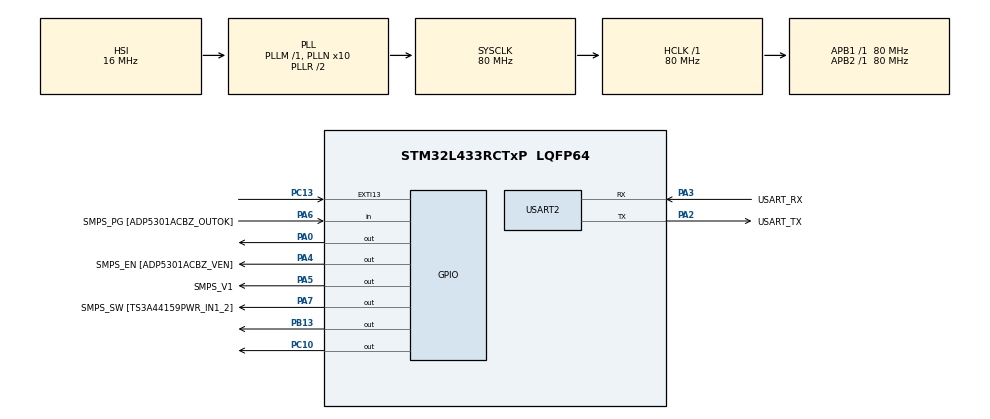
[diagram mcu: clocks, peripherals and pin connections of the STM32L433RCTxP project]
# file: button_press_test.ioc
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Mcu.Family=STM32L4
Mcu.Name=STM32L433RCTxP
Mcu.Package=LQFP64
NVIC.EXTI15_10_IRQn=true\:0\:0\:false\:false\:true\:true\:true\:true
NVIC.PriorityGroup=NVIC_PRIORITYGROUP_4
PA0.Signal=GPIO_Output
PA13\ (JTMS-SWDIO).GPIO_Label=TMS
PA13\ (JTMS-SWDIO).Mode=Serial_Wire
PA13\ (JTMS-SWDIO).Signal=SYS_JTMS-SWDIO
PA14\ (JTCK-SWCLK).GPIO_Label=TCK
PA14\ (JTCK-SWCLK).Mode=Serial_Wire
PA14\ (JTCK-SWCLK).Signal=SYS_JTCK-SWCLK
PA2.GPIO_Label=USART_TX
PA2.GPIO_Mode=GPIO_MODE_AF_PP
PA2.GPIO_PuPd=GPIO_NOPULL
PA2.GPIO_Speed=GPIO_SPEED_FREQ_VERY_HIGH
PA2.Mode=Asynchronous
PA2.Signal=USART2_TX
PA3.GPIO_Label=USART_RX
PA3.GPIO_Mode=GPIO_MODE_AF_PP
PA3.GPIO_PuPd=GPIO_NOPULL
PA3.GPIO_Speed=GPIO_SPEED_FREQ_VERY_HIGH
PA3.Mode=Asynchronous
PA3.Signal=USART2_RX
PA4.GPIO_Label=SMPS_EN [ADP5301ACBZ_VEN]
PA4.Signal=GPIO_Output
PA5.GPIO_Label=SMPS_V1
PA5.GPIO_ModeDefaultOutputPP=GPIO_MODE_OUTPUT_PP
PA5.GPIO_PuPd=GPIO_NOPULL
PA5.GPIO_Speed=GPIO_SPEED_FREQ_LOW
PA5.Signal=GPIO_Output
PA6.GPIO_Label=SMPS_PG [ADP5301ACBZ_OUTOK]
PA6.GPIO_PuPd=GPIO_PULLUP
PA6.Signal=GPIO_Input
PA7.GPIO_Label=SMPS_SW [TS3A44159PWR_IN1_2]
PA7.Signal=GPIO_Output
PB13.Signal=GPIO_Output
PB3\ (JTDO-TRACESWO).GPIO_Label=SWO
PB3\ (JTDO-TRACESWO).Signal=SYS_JTDO-SWO
PC10.Signal=GPIO_Output
PC13.Signal=GPXTI13
PC14-OSC32_IN\ (PC14).Mode=LSE-External-Oscillator
PC14-OSC32_IN\ (PC14).Signal=RCC_OSC32_IN
PC15-OSC32_OUT\ (PC15).Mode=LSE-External-Oscillator
PC15-OSC32_OUT\ (PC15).Signal=RCC_OSC32_OUT
PH0-OSC_IN\ (PH0).GPIO_Label=MCO
PH0-OSC_IN\ (PH0).Mode=HSE-External-Clock-Source
PH0-OSC_IN\ (PH0).Signal=RCC_OSC_IN
PH1-OSC_OUT\ (PH1).Signal=RCC_OSC_OUT
ProjectManager.HeapSize=0x200
ProjectManager.StackSize=0x400
ProjectManager.TargetToolchain=STM32CubeIDE
RCC.ADCFreq_Value=64000000
RCC.AHBFreq_Value=80000000
RCC.APB1Freq_Value=80000000
RCC.APB1TimFreq_Value=80000000
RCC.APB2Freq_Value=80000000
RCC.APB2TimFreq_Value=80000000
RCC.CortexFreq_Value=80000000
RCC.HCLKFreq_Value=80000000
RCC.HSE_VALUE=8000000
RCC.HSI48_VALUE=48000000
RCC.HSI_VALUE=16000000
RCC.MSI_VALUE=4000000
RCC.PLLN=10
RCC.PLLSourceVirtual=RCC_PLLSOURCE_HSI
RCC.PREFETCH_ENABLE=1
RCC.SYSCLKFreq_VALUE=80000000
RCC.SYSCLKSource=RCC_SYSCLKSOURCE_PLLCLK
RCC.USBFreq_Value=64000000
RCC.VCOOutputFreq_Value=160000000
USART2.VirtualMode-Asynchronous=VM_ASYNC
board=NUCLEO-L433RC-P

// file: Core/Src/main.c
/* USER CODE BEGIN Header */
/**
  ******************************************************************************
  * @file           : main.c
  * @brief          : Main program body
  ******************************************************************************
  * @attention
  *
  * Copyright (c) 2025 STMicroelectronics.
  * All rights reserved.
  *
  * This software is licensed under terms that can be found in the LICENSE file
  * in the root directory of this software component.
  * If no LICENSE file comes with this software, it is provided AS-IS.
  *
  ******************************************************************************
  */
/* USER CODE END Header */
#include "main.h"

UART_HandleTypeDef huart2;

/* USER CODE BEGIN PV */
volatile uint8_t single_tab = 0;
volatile uint8_t double_tab = 0;
volatile uint8_t action_triggered = 0;
volatile uint8_t interrupt_detected = 0;
volatile uint32_t last_press_time = 0;
int count = 0;

//volatile uint32_t last_press_time = 0;
volatile uint32_t first_press_time = 0;
volatile uint8_t press_count = 0;

//volatile uint8_t single_tab = 0;
//volatile uint8_t double_tab = 0;
//volatile uint8_t action_triggered = 0;
//volatile uint8_t interrupt_detected = 0;

//char msg[] = "Hello, world!\r\n";
/* USER CODE END PV */

void SystemClock_Config(void);
static void MX_GPIO_Init(void);
static void MX_USART2_UART_Init(void);

/* USER CODE BEGIN 0 */
void HAL_GPIO_EXTI_Callback(uint16_t GPIO_Pin)
{
	if (GPIO_Pin == GPIO_PIN_13)
	{
		uint32_t current_time = HAL_GetTick();

		// Debounce: ignore if within 200ms of last press
		if (current_time - last_press_time < 200)
			return;
		last_press_time = current_time;

		// If action running, interrupt it
//		if (action_triggered)
//		{
//			interrupt_detected = 1;
//		}

//		if (press_count == 0)
//		{
//			// First press
//			first_press_time = current_time;
//			press_count = 1;
//		}
		//else if (press_count == 1)
		if(HAL_GetTick() - first_press_time > 500)
		  	{
		  		//single_tab = 1;
		  		//double_tab = 0;
		  		//action_triggered = 1;
		  		//press_count = 0;
		  		HAL_GPIO_TogglePin(GPIOB, GPIO_PIN_13);  // LED blink
		  	}

		//if(press_count == 1)
		//{
			//uint32_t diff = current_time - first_press_time;
			//if (diff > 200 && diff < 300 )
			if (HAL_GetTick() - first_press_time < 500 )
			{
				//double_tab = 2;
				//single_tab = 0;
				//action_triggered = 1;
				//press_count = 0;

				HAL_GPIO_TogglePin(GPIOC, GPIO_PIN_10);
			}
				//HAL_GPIO_TogglePin(GPIOC, GPIO_PIN_10);
			//}
			//else
			//{
				// Too late: reset to first press again
				//first_press_time = current_time;
				//press_count = 1;
			//}
		//}
	}
//}

/* USER CODE END 0 */

int main(void)
{

  /* MCU Configuration--------------------------------------------------------*/

  /* Reset of all peripherals, Initializes the Flash interface and the Systick. */
  HAL_Init();

  /* Configure the system clock */
  SystemClock_Config();

  /* Initialize all configured peripherals */
  MX_GPIO_Init();
  MX_USART2_UART_Init();

  /* Infinite loop */
  /* USER CODE BEGIN WHILE */
  while (1)
  {
  	// Single tap timeout check
//  	if (press_count == 1 && (HAL_GetTick() - first_press_time > 500))
//  	{
//  		single_tab = 1;
//  		//double_tab = 0;
//  		//action_triggered = 1;
//  		press_count = 0;
//  		HAL_GPIO_TogglePin(GPIOB, GPIO_PIN_13);  // LED blink
//  	}

//  	if (action_triggered)
//  	{
//  		interrupt_detected = 0;

//  		if (single_tab == 1)
//  		{
//  			//for (int i = 0; i < 4; i++)
//  			//{
//  				if (interrupt_detected) break;
//  				HAL_GPIO_TogglePin(GPIOB, GPIO_PIN_13);  // LED blink
//  				if (interrupt_detected) break;
//  				//HAL_Delay(100);
//  			//}
//  			//HAL_GPIO_WritePin(GPIOB, GPIO_PIN_13, GPIO_PIN_RESET);  // Ensure OFF
//  			single_tab = 0;
//  			action_triggered = 0;
//  		}
//  		else if (double_tab == 2)
//  		{
//  			//for (int i = 0; i < 3; i++)
//  			//{
//  				if (interrupt_detected) break;
//  				HAL_GPIO_TogglePin(GPIOC, GPIO_PIN_10);
//  				if (interrupt_detected) break;
//  				//HAL_Delay(2500);
//  				//HAL_GPIO_WritePin(GPIOC, GPIO_PIN_10, GPIO_PIN_SET);
//  				//HAL_Delay(2500);
////  				for (int j = 0; j < 25; j++)
////  				{
////  					if (interrupt_detected) break;
////  					HAL_Delay(100);
////  				}
////
////  				HAL_GPIO_WritePin(GPIOC, GPIO_PIN_10, GPIO_PIN_RESET);
////  				for (int j = 0; j < 25; j++)
////  				{
////  					if (interrupt_detected) break;
////  					HAL_Delay(100);
////  				}
//  			//}
//  			//HAL_GPIO_WritePin(GPIOC, GPIO_PIN_10, GPIO_PIN_RESET);  // Ensure OFF
//  			double_tab = 0;
//  			action_triggered = 0;
//  		}
//  	}
  }

  /* USER CODE END 3 */
}

void SystemClock_Config(void)
{
  RCC_OscInitTypeDef RCC_OscInitStruct = {0};
  RCC_ClkInitTypeDef RCC_ClkInitStruct = {0};

  /** Configure the main internal regulator output voltage
  */
  if (HAL_PWREx_ControlVoltageScaling(PWR_REGULATOR_VOLTAGE_SCALE1) != HAL_OK)
  {
    Error_Handler();
  }

  /** Initializes the RCC Oscillators according to the specified parameters
  * in the RCC_OscInitTypeDef structure.
  */
  RCC_OscInitStruct.OscillatorType = RCC_OSCILLATORTYPE_HSI;
  RCC_OscInitStruct.HSIState = RCC_HSI_ON;
  RCC_OscInitStruct.HSICalibrationValue = RCC_HSICALIBRATION_DEFAULT;
  RCC_OscInitStruct.PLL.PLLState = RCC_PLL_ON;
  RCC_OscInitStruct.PLL.PLLSource = RCC_PLLSOURCE_HSI;
  RCC_OscInitStruct.PLL.PLLM = 1;
  RCC_OscInitStruct.PLL.PLLN = 10;
  RCC_OscInitStruct.PLL.PLLP = RCC_PLLP_DIV7;
  RCC_OscInitStruct.PLL.PLLQ = RCC_PLLQ_DIV2;
  RCC_OscInitStruct.PLL.PLLR = RCC_PLLR_DIV2;
  if (HAL_RCC_OscConfig(&RCC_OscInitStruct) != HAL_OK)
  {
    Error_Handler();
  }

  /** Initializes the CPU, AHB and APB buses clocks
  */
  RCC_ClkInitStruct.ClockType = RCC_CLOCKTYPE_HCLK|RCC_CLOCKTYPE_SYSCLK
                              |RCC_CLOCKTYPE_PCLK1|RCC_CLOCKTYPE_PCLK2;
  RCC_ClkInitStruct.SYSCLKSource = RCC_SYSCLKSOURCE_PLLCLK;
  RCC_ClkInitStruct.AHBCLKDivider = RCC_SYSCLK_DIV1;
  RCC_ClkInitStruct.APB1CLKDivider = RCC_HCLK_DIV1;
  RCC_ClkInitStruct.APB2CLKDivider = RCC_HCLK_DIV1;

  if (HAL_RCC_ClockConfig(&RCC_ClkInitStruct, FLASH_LATENCY_4) != HAL_OK)
  {
    Error_Handler();
  }
}

static void MX_USART2_UART_Init(void)
{

  /* USER CODE BEGIN USART2_Init 0 */
//
  /* USER CODE END USART2_Init 0 */

  /* USER CODE BEGIN USART2_Init 1 */
//
  /* USER CODE END USART2_Init 1 */
  huart2.Instance = USART2;
  huart2.Init.BaudRate = 115200;
  huart2.Init.WordLength = UART_WORDLENGTH_8B;
  huart2.Init.StopBits = UART_STOPBITS_1;
  huart2.Init.Parity = UART_PARITY_NONE;
  huart2.Init.Mode = UART_MODE_TX_RX;
  huart2.Init.HwFlowCtl = UART_HWCONTROL_NONE;
  huart2.Init.OverSampling = UART_OVERSAMPLING_16;
  huart2.Init.OneBitSampling = UART_ONE_BIT_SAMPLE_DISABLE;
  huart2.AdvancedInit.AdvFeatureInit = UART_ADVFEATURE_NO_INIT;
  if (HAL_UART_Init(&huart2) != HAL_OK)
  {
    Error_Handler();
  }
  /* USER CODE BEGIN USART2_Init 2 */
//
  /* USER CODE END USART2_Init 2 */

}

static void MX_GPIO_Init(void)
{
  GPIO_InitTypeDef GPIO_InitStruct = {0};

  /* GPIO Ports Clock Enable */
  __HAL_RCC_GPIOC_CLK_ENABLE();
  __HAL_RCC_GPIOH_CLK_ENABLE();
  __HAL_RCC_GPIOA_CLK_ENABLE();
  __HAL_RCC_GPIOB_CLK_ENABLE();

  /*Configure GPIO pin Output Level */
  HAL_GPIO_WritePin(GPIOA, GPIO_PIN_0|SMPS_EN_Pin|SMPS_V1_Pin|SMPS_SW_Pin, GPIO_PIN_RESET);

  /*Configure GPIO pin Output Level */
  HAL_GPIO_WritePin(GPIOB, GPIO_PIN_13, GPIO_PIN_RESET);

  /*Configure GPIO pin Output Level */
  HAL_GPIO_WritePin(GPIOC, GPIO_PIN_10, GPIO_PIN_RESET);

  /*Configure GPIO pin : PC13 */
  GPIO_InitStruct.Pin = GPIO_PIN_13;
  GPIO_InitStruct.Mode = GPIO_MODE_IT_RISING;
  GPIO_InitStruct.Pull = GPIO_NOPULL;
  HAL_GPIO_Init(GPIOC, &GPIO_InitStruct);

  /*Configure GPIO pins : PA0 SMPS_EN_Pin SMPS_V1_Pin SMPS_SW_Pin */
  GPIO_InitStruct.Pin = GPIO_PIN_0|SMPS_EN_Pin|SMPS_V1_Pin|SMPS_SW_Pin;
  GPIO_InitStruct.Mode = GPIO_MODE_OUTPUT_PP;
  GPIO_InitStruct.Pull = GPIO_NOPULL;
  GPIO_InitStruct.Speed = GPIO_SPEED_FREQ_LOW;
  HAL_GPIO_Init(GPIOA, &GPIO_InitStruct);

  /*Configure GPIO pin : SMPS_PG_Pin */
  GPIO_InitStruct.Pin = SMPS_PG_Pin;
  GPIO_InitStruct.Mode = GPIO_MODE_INPUT;
  GPIO_InitStruct.Pull = GPIO_PULLUP;
  HAL_GPIO_Init(SMPS_PG_GPIO_Port, &GPIO_InitStruct);

  /*Configure GPIO pin : PB13 */
  GPIO_InitStruct.Pin = GPIO_PIN_13;
  GPIO_InitStruct.Mode = GPIO_MODE_OUTPUT_PP;
  GPIO_InitStruct.Pull = GPIO_NOPULL;
  GPIO_InitStruct.Speed = GPIO_SPEED_FREQ_LOW;
  HAL_GPIO_Init(GPIOB, &GPIO_InitStruct);

  /*Configure GPIO pin : PC10 */
  GPIO_InitStruct.Pin = GPIO_PIN_10;
  GPIO_InitStruct.Mode = GPIO_MODE_OUTPUT_PP;
  GPIO_InitStruct.Pull = GPIO_NOPULL;
  GPIO_InitStruct.Speed = GPIO_SPEED_FREQ_LOW;
  HAL_GPIO_Init(GPIOC, &GPIO_InitStruct);

  /* EXTI interrupt init*/
  HAL_NVIC_SetPriority(EXTI15_10_IRQn, 0, 0);
  HAL_NVIC_EnableIRQ(EXTI15_10_IRQn);

}

void Error_Handler(void)
{
  __disable_irq();
  while (1)
  {
  }
}
